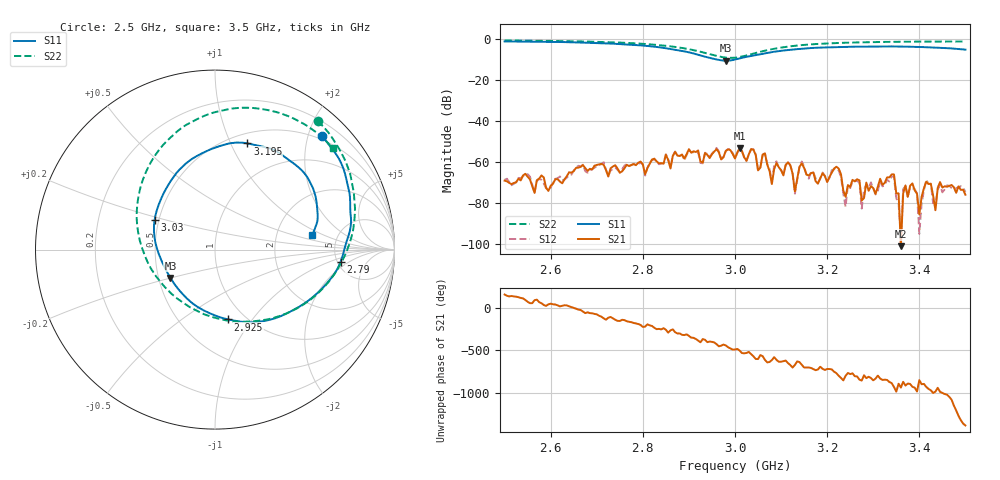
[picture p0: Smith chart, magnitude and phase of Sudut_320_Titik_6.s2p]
# Hz S RI R 50
! CMT, C1220, 16058040, 17.2.0/1
! Date: 15/08/2018 10:20:16
! Data: Format (Calibration Info)
! Freq  S11: Re/Im (F2)  S21: Re/Im (F2)  S12: Re/Im (F2)  S22: Re/Im (F2)
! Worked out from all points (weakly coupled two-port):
!   201 points, 2.5 GHz to 3.5 GHz, reference 50 ohm
!   highest |S21| = -53.42 dB at 3.01 GHz (marker M1); lowest = -101.3 dB at 3.36 GHz (marker M2)
!   lowest |S11| = -10.6 dB at 2.98 GHz (marker M3), VSWR 1.83, Z = 28.8 - j9.95 ohm
!   |S11| at or under -10 dB: 2.959 GHz to 3.001 GHz (42.04 MHz wide, 1.41 % of centre)
!   |S22| runs from -9.3 to -0.7 dB; largest |S21 - S12| = 0.00019
!   S11 on the Smith chart (normalised r, x): 2.5 GHz: 0.43, +2.24; 2.79 GHz: 5.33, -1.43; 2.925 GHz: 0.83, -0.77; 3.03 GHz: 0.47, +0.18; 3.195 GHz: 0.60, +1.16; 3.5 GHz: 3.24, +0.74
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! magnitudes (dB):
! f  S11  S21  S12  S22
! 2.5 GHz  -1.2  -69.2  -68.8  -0.7
! 2.595 GHz  -1.4  -74.3  -73.3  -1.0
! 2.67 GHz  -1.8  -61.7  -61.5  -1.2
! 2.79 GHz  -3.1  -60.5  -61.1  -2.2
! 2.835 GHz  -4.1  -60.8  -61.2  -3.0
! 2.925 GHz  -8.1  -59.9  -60.6  -6.2
! 2.98 GHz  -10.6  -54.7  -54.8  -9.1
! 3 GHz  -10.1  -58.4  -58.4  -9.2
! 3.01 GHz  -9.5  -53.4  -53.8  -8.8
! 3.03 GHz  -8.5  -56.3  -56.3  -7.8
! 3.065 GHz  -7.1  -55.9  -56.5  -5.7
! 3.08 GHz  -6.4  -70.9  -69.3  -5.0
! 3.115 GHz  -5.4  -60.3  -60.4  -3.7
! 3.13 GHz  -5.1  -74.6  -75.6  -3.4
! 3.145 GHz  -4.8  -60.8  -59.9  -3.0
! 3.17 GHz  -4.4  -65.2  -65.1  -2.6
! 3.195 GHz  -4.2  -67.0  -66.8  -2.3
! 3.225 GHz  -4.0  -63.3  -64.2  -2.0
! 3.24 GHz  -3.9  -77.1  -82.0  -1.8
! 3.335 GHz  -3.7  -67.7  -69.7  -1.4
! 3.36 GHz  -3.7  -101.3  -97.5  -1.4
! 3.5 GHz  -5.2  -76.1  -74.7  -1.3
